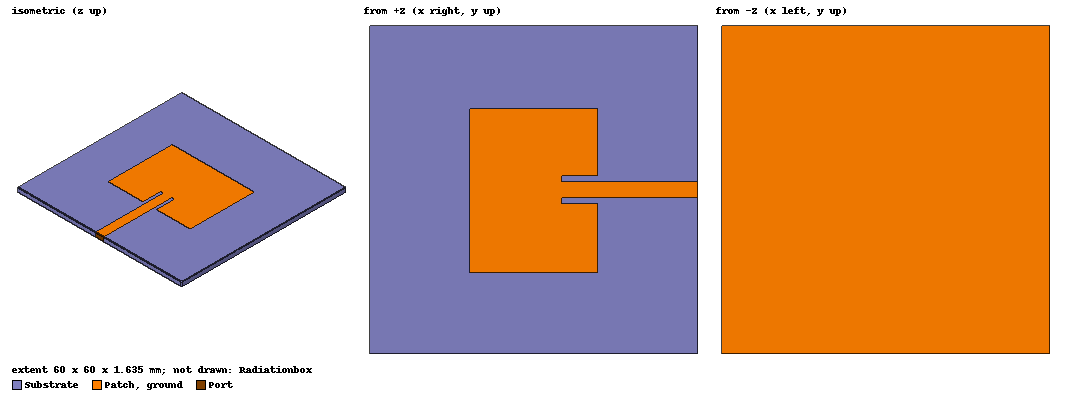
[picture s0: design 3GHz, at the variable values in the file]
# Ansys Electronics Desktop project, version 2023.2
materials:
  vacuum: permittivity=1
  FR4_epoxy: permittivity=4.4 dielectric_loss_tangent=0.02
  air: permittivity=1.0006 permeability=1.0000004
  copper: permeability=0.999991 conductivity=58000000

design 3GHz (HFSS, HFSS Modal Network, model units mm)
options: Save_Adaptive_support_files
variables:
  l = 30mm
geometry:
  ground = rectangle(corner=(-30mm, -30mm, 0mm), x_size=60mm, y_size=60mm)
  Substrate [FR4_epoxy] = box(corner=(-30mm, -30mm, 0mm), size=(60mm, 60mm, 1.6mm))
  Patch [copper] = rectangle(corner=((-23.43/2) mm, (-30.42/2) mm, 1.6mm), x_size=23.43mm, y_size=l)
  Feed = rectangle(corner=(0mm, -1.5mm, 1.6mm), x_size=30mm, y_size=3mm)
  Cut = rectangle(corner=(14.7mm, -2.5mm, 1.6mm), x_size=-9.5mm, y_size=5mm)
  Patch.subtract(Cut)
  Patch.unite(Feed)
  Port = rectangle(corner=(30mm, -1.5mm, 1.6mm), y_size=3mm, z_size=-1.6mm)
  Radiationbox [air] = box(corner=(-40mm, -40mm, -20mm), size=(80mm, 80mm, 40mm))
  Patch.thicken(0.035mm)
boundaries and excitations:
  PerfE1: Perfect E Objects=[Patch, ground]
  Rad1: Radiation Objects=Radiationbox
  1: Lumped Port Objects=Port LumpedPortType=Modal Modes{Mode1{IntLine{(30, 0.2, 0) -> (30, 0, 1.6)} CharImp=Zpi RenormImp=50ohm}} Impedance=50ohm
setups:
  Setup1: HfssDriven Frequency=3GHz MaxDeltaS=0.02 MaximumPasses=20 MinimumPasses=1 MinimumConvergedPasses=1 PercentRefinement=30 BasisOrder=1 PortAccuracy=2 DrivenSolverType="Direct Solver"
    sweep Sweep: 2GHz to 4GHz step 0.01GHz; Type=Fast SaveFields
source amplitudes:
  1:1: 1W 0deg
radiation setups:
  Infinite Sphere1: Infinite Sphere Theta=-180deg..180deg step 2deg Phi=-180deg..180deg step 2deg
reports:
  S Parameter Plot 1: dB(S(1,1)) vs Freq on Setup1 : Sweep; markers m1 at 2.39GHz
  Gain Plot 1: dB(GainTotal) vs Theta on Setup1 : LastAdaptive, Infinite Sphere1 [Phi=0deg Freq=3GHz]
  Gain Plot 2: dB(GainTotal) vs Phi, Theta on Setup1 : LastAdaptive, Infinite Sphere1 [Freq=3GHz]
  rE Plot 2: dB(rETotal) vs Theta on Setup1 : LastAdaptive, Infinite Sphere1 [Phi=all Freq=3GHz]
